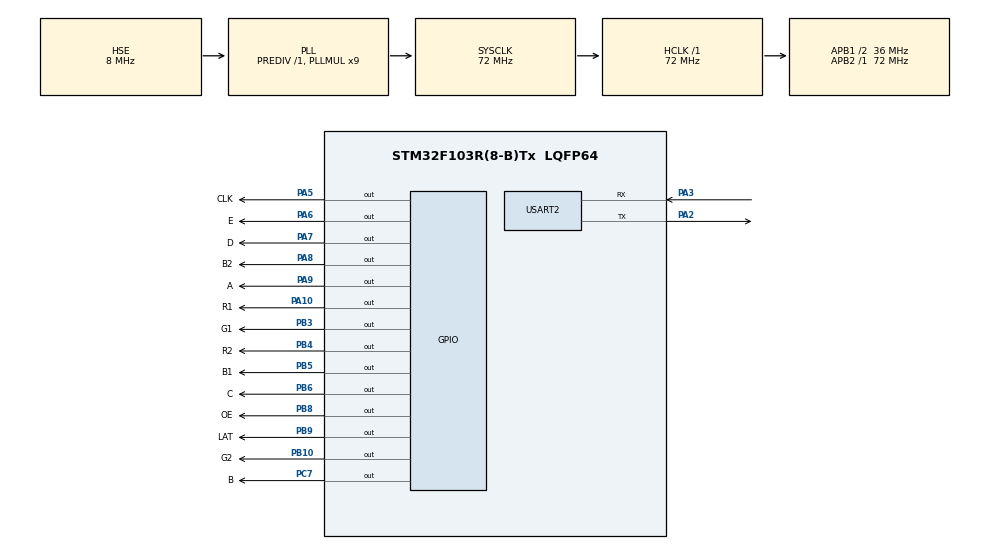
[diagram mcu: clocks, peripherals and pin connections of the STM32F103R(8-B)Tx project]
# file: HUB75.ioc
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Mcu.Family=STM32F1
Mcu.Name=STM32F103R(8-B)Tx
Mcu.Package=LQFP64
NVIC.PriorityGroup=NVIC_PRIORITYGROUP_4
NVIC.TIM1_UP_IRQn=true\:0\:0\:false\:false\:true\:true\:true\:true
PA10.GPIO_Label=R1
PA10.Signal=GPIO_Output
PA13.Mode=Serial_Wire
PA13.Signal=SYS_JTMS-SWDIO
PA14.Mode=Serial_Wire
PA14.Signal=SYS_JTCK-SWCLK
PA2.Mode=Asynchronous
PA2.Signal=USART2_TX
PA3.Mode=Asynchronous
PA3.Signal=USART2_RX
PA5.GPIO_Label=CLK
PA5.GPIO_ModeDefaultOutputPP=GPIO_MODE_OUTPUT_PP
PA5.GPIO_PuPd=GPIO_PULLUP
PA5.GPIO_Speed=GPIO_SPEED_FREQ_HIGH
PA5.PinState=GPIO_PIN_SET
PA5.Signal=GPIO_Output
PA6.GPIO_Label=E
PA6.GPIO_ModeDefaultOutputPP=GPIO_MODE_OUTPUT_PP
PA6.GPIO_PuPd=GPIO_PULLUP
PA6.GPIO_Speed=GPIO_SPEED_FREQ_HIGH
PA6.PinState=GPIO_PIN_RESET
PA6.Signal=GPIO_Output
PA7.GPIO_Label=D
PA7.GPIO_PuPd=GPIO_PULLUP
PA7.GPIO_Speed=GPIO_SPEED_FREQ_HIGH
PA7.Signal=GPIO_Output
PA8.GPIO_Label=B2
PA8.GPIO_ModeDefaultOutputPP=GPIO_MODE_OUTPUT_PP
PA8.GPIO_PuPd=GPIO_PULLUP
PA8.GPIO_Speed=GPIO_SPEED_FREQ_HIGH
PA8.PinState=GPIO_PIN_RESET
PA8.Signal=GPIO_Output
PA9.GPIO_Label=A
PA9.GPIO_PuPd=GPIO_PULLUP
PA9.GPIO_Speed=GPIO_SPEED_FREQ_HIGH
PA9.Signal=GPIO_Output
PB10.GPIO_Label=G2
PB10.GPIO_PuPd=GPIO_PULLUP
PB10.GPIO_Speed=GPIO_SPEED_FREQ_HIGH
PB10.Signal=GPIO_Output
PB3.GPIO_Label=G1
PB3.Signal=GPIO_Output
PB4.GPIO_Label=R2
PB4.Signal=GPIO_Output
PB5.GPIO_Label=B1
PB5.Signal=GPIO_Output
PB6.GPIO_Label=C
PB6.GPIO_PuPd=GPIO_PULLUP
PB6.GPIO_Speed=GPIO_SPEED_FREQ_HIGH
PB6.Signal=GPIO_Output
PB8.GPIO_Label=OE
PB8.GPIO_PuPd=GPIO_PULLUP
PB8.GPIO_Speed=GPIO_SPEED_FREQ_HIGH
PB8.PinState=GPIO_PIN_SET
PB8.Signal=GPIO_Output
PB9.GPIO_Label=LAT
PB9.GPIO_ModeDefaultOutputPP=GPIO_MODE_OUTPUT_PP
PB9.GPIO_PuPd=GPIO_PULLUP
PB9.GPIO_Speed=GPIO_SPEED_FREQ_HIGH
PB9.PinState=GPIO_PIN_RESET
PB9.Signal=GPIO_Output
PC7.GPIO_Label=B
PC7.GPIO_PuPd=GPIO_PULLUP
PC7.GPIO_Speed=GPIO_SPEED_FREQ_HIGH
PC7.Signal=GPIO_Output
PD0-OSC_IN.Mode=HSE-External-Oscillator
PD0-OSC_IN.Signal=RCC_OSC_IN
PD1-OSC_OUT.Mode=HSE-External-Oscillator
PD1-OSC_OUT.Signal=RCC_OSC_OUT
ProjectManager.HeapSize=0x2000
ProjectManager.StackSize=0x800
ProjectManager.TargetToolchain=MDK-ARM V5.32
RCC.AHBFreq_Value=72000000
RCC.APB1CLKDivider=RCC_HCLK_DIV2
RCC.APB1Freq_Value=36000000
RCC.APB1TimFreq_Value=72000000
RCC.APB2Freq_Value=72000000
RCC.APB2TimFreq_Value=72000000
RCC.HCLKFreq_Value=72000000
RCC.PLLMUL=RCC_PLL_MUL9
RCC.PLLSourceVirtual=RCC_PLLSOURCE_HSE
RCC.SYSCLKFreq_VALUE=72000000
RCC.SYSCLKSource=RCC_SYSCLKSOURCE_PLLCLK
RCC.USBFreq_Value=72000000
TIM1.AutoReloadPreload=TIM_AUTORELOAD_PRELOAD_ENABLE
TIM1.Period=999
TIM1.Prescaler=71
USART2.VirtualMode=VM_ASYNC
VP_TIM1_VS_ClockSourceINT.Mode=Internal
board=custom

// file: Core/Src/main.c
/* USER CODE BEGIN Header */
/**
  ******************************************************************************
  * @file           : main.c
  * @brief          : Main program body
  ******************************************************************************
  * @attention
  *
  * Copyright (c) 2023 STMicroelectronics.
  * All rights reserved.
  *
  * This software is licensed under terms that can be found in the LICENSE file
  * in the root directory of this software component.
  * If no LICENSE file comes with this software, it is provided AS-IS.
  *
  ******************************************************************************
  */
/* USER CODE END Header */
#include "main.h"
#include "tim.h"
#include "usart.h"
#include "gpio.h"

/* USER CODE BEGIN Includes */
#include "RGBMatrix_device.h"
#include "GUI_Paint.h"
/* USER CODE END Includes */

void SystemClock_Config(void);

int main(void)
{
  /* USER CODE BEGIN 1 */

	uint16_t width = 64; //length of a single screen
	uint8_t address_size = 5; //The number of digits in the address, for example: 1/32 scan is a 5-digit address
	uint8_t bitDepth=4; //Bit depth setting, up to 4 bits

  /* USER CODE END 1 */

  /* MCU Configuration--------------------------------------------------------*/

  /* Reset of all peripherals, Initializes the Flash interface and the Systick. */
  HAL_Init();

  /* Configure the system clock */
  SystemClock_Config();

  /* Initialize all configured peripherals */
  MX_GPIO_Init();
  MX_USART2_UART_Init();
  MX_TIM1_Init();
  /* USER CODE BEGIN 2 */

	//Microsecond delay initialization
	DWT_Init();

	//HUB75 initialization
	HUB75_Init(width,address_size,bitDepth);

	if((RGB_Matrix.BlackImage = (UWORD *)malloc(RGB_Matrix.width * RGB_Matrix.height)) == NULL)
	{
    printf("Failed to apply for black memory...\r\n");
		while(1);
   }

	Paint_NewImage(RGB_Matrix.BlackImage,RGB_Matrix.width, RGB_Matrix.height, 0, BLACK);

	Paint_Clear(BLACK);

	for(uint16_t x=0;x < width + 1;x++ ){
		if((Wheel(x) & 0xFE1F)  == 0) //To prevent a column of lights from not lighting up, only the high four bits of RGB565 are taken.
		{
			Paint_DrawLine(x, 0, x, 64, Wheel(x-1) , DOT_PIXEL_1X1, LINE_STYLE_SOLID);
		}
		else
			Paint_DrawLine(x, 0, x, 64, Wheel(x), DOT_PIXEL_1X1, LINE_STYLE_SOLID);

	}
	 	HUB75_show();
	HAL_Delay(1000);
	Paint_Clear(BLACK);
	Paint_DrawLine(20, 11, 20, 31, Wheel(1), DOT_PIXEL_1X1, LINE_STYLE_SOLID);
	Paint_DrawLine(10, 21, 30, 21, Wheel(31), DOT_PIXEL_1X1, LINE_STYLE_SOLID);
	Paint_DrawCircle(20, 21, 10, Wheel(14), DOT_PIXEL_1X1, DRAW_FILL_EMPTY);
	Paint_DrawPoint(20,21, Wheel(1) | Wheel(31), DOT_PIXEL_1X1,  DOT_FILL_RIGHTUP);

	Paint_DrawLine(44, 11, 44, 31, Wheel(16), DOT_PIXEL_1X1, LINE_STYLE_SOLID);
	Paint_DrawLine(34, 21, 54, 21, Wheel(63), DOT_PIXEL_1X1, LINE_STYLE_SOLID);
	Paint_DrawCircle(44, 21, 10, Wheel(54), DOT_PIXEL_1X1, DRAW_FILL_EMPTY);
	Paint_DrawPoint(44,21, Wheel(16) | Wheel(63), DOT_PIXEL_1X1,  DOT_FILL_RIGHTUP);

	Paint_DrawRectangle(1, 1, 64, 64, Wheel(6), DOT_PIXEL_1X1, DRAW_FILL_EMPTY);

	printf("Display string.\n");
	Paint_DrawString_EN(5, 32, "Hello", &Font16, BLACK, YELLOW);
	Paint_DrawString_EN(5, 47, "world", &Font12, MAGENTA, BLACK);
	HAL_Delay(1000);

	Paint_Clear(BLACK);
	Paint_DrawNum(0, 25, 23.456789, &Font16, 2, Wheel(90), BLACK);
	Paint_DrawString_CN(1, 1, "���abc", &Font12CN, Wheel(35), BLACK);

  /* USER CODE END 2 */

  /* Infinite loop */
  /* USER CODE BEGIN WHILE */

  while (1)
  {

		HUB75E_DelayUs(10);

    /* USER CODE END WHILE */

  }
}

void SystemClock_Config(void)
{
  RCC_OscInitTypeDef RCC_OscInitStruct = {0};
  RCC_ClkInitTypeDef RCC_ClkInitStruct = {0};

  /** Initializes the RCC Oscillators according to the specified parameters
  * in the RCC_OscInitTypeDef structure.
  */
  RCC_OscInitStruct.OscillatorType = RCC_OSCILLATORTYPE_HSE;
  RCC_OscInitStruct.HSEState = RCC_HSE_ON;
  RCC_OscInitStruct.HSEPredivValue = RCC_HSE_PREDIV_DIV1;
  RCC_OscInitStruct.HSIState = RCC_HSI_ON;
  RCC_OscInitStruct.PLL.PLLState = RCC_PLL_ON;
  RCC_OscInitStruct.PLL.PLLSource = RCC_PLLSOURCE_HSE;
  RCC_OscInitStruct.PLL.PLLMUL = RCC_PLL_MUL9;
  if (HAL_RCC_OscConfig(&RCC_OscInitStruct) != HAL_OK)
  {
    Error_Handler();
  }

  /** Initializes the CPU, AHB and APB buses clocks
  */
  RCC_ClkInitStruct.ClockType = RCC_CLOCKTYPE_HCLK|RCC_CLOCKTYPE_SYSCLK
                              |RCC_CLOCKTYPE_PCLK1|RCC_CLOCKTYPE_PCLK2;
  RCC_ClkInitStruct.SYSCLKSource = RCC_SYSCLKSOURCE_PLLCLK;
  RCC_ClkInitStruct.AHBCLKDivider = RCC_SYSCLK_DIV1;
  RCC_ClkInitStruct.APB1CLKDivider = RCC_HCLK_DIV2;
  RCC_ClkInitStruct.APB2CLKDivider = RCC_HCLK_DIV1;

  if (HAL_RCC_ClockConfig(&RCC_ClkInitStruct, FLASH_LATENCY_2) != HAL_OK)
  {
    Error_Handler();
  }
}

void Error_Handler(void)
{
  __disable_irq();
  while (1)
  {
  }
}
